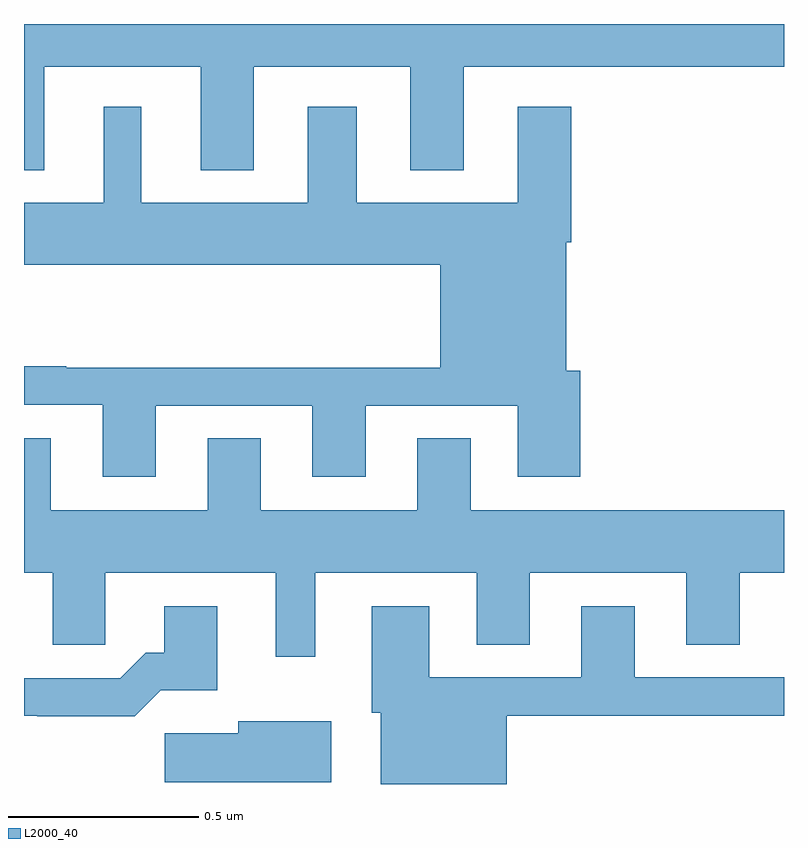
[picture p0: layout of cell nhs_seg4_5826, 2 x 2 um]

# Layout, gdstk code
import gdstk
lib = gdstk.Library(unit=1e-6, precision=1e-09)
def P(c, l, *ps):  # polygons
    for p in ps: c.add(gdstk.Polygon(p, *l))
L2000_40 = (2000, 40)

nhs_seg4_5826 = lib.new_cell('nhs_seg4_5826')
P(nhs_seg4_5826, L2000_40, [(182.053,828.788),(182.465,828.788),(182.465,828.515),(182.605,828.515),(182.605,828.788),(183.017,828.788),(183.017,828.515),(183.157,828.515),(183.157,828.788),(184,828.788),(184,828.9),(182,828.9),(182,828.515),(182.053,828.515)],
  [(182.347,827.895),(182.759,827.895),(182.759,827.709),(182.899,827.709),(182.899,827.895),(183.299,827.895),(183.299,827.709),(183.464,827.709),(183.464,827.988),(183.427,827.988),(183.427,828.326),(183.44,828.326),(183.44,828.682),(183.299,828.682),(183.299,828.43),(182.875,828.43),(182.875,828.682),(182.747,828.682),(182.747,828.43),(182.308,828.43),(182.308,828.682),(182.21,828.682),(182.21,828.43),(182,828.43),(182,828.266),(183.095,828.266),(183.095,827.996),(182.111,827.996),(182.111,827.999),(182,827.999),(182,827.898),(182.207,827.898),(182.207,827.709),(182.347,827.709)],
  [(182.767,827.456),(183.191,827.456),(183.191,827.266),(183.331,827.266),(183.331,827.456),(183.743,827.456),(183.743,827.266),(183.883,827.266),(183.883,827.456),(184,827.456),(184,827.62),(183.175,827.62),(183.175,827.81),(183.035,827.81),(183.035,827.62),(182.623,827.62),(182.623,827.81),(182.483,827.81),(182.483,827.62),(182.071,827.62),(182.071,827.81),(182,827.81),(182,827.456),(182.075,827.456),(182.075,827.266),(182.214,827.266),(182.214,827.456),(182.663,827.456),(182.663,827.235),(182.767,827.235)],
  [(182.36,827.147),(182.509,827.147),(182.509,827.368),(182.369,827.368),(182.369,827.245),(182.32,827.245),(182.253,827.178),(182,827.178),(182,827.08),(182.035,827.08),(182.035,827.078),(182.291,827.078)],
  [(183.271,827.08),(184,827.08),(184,827.181),(183.607,827.181),(183.607,827.368),(183.467,827.368),(183.467,827.181),(183.067,827.181),(183.067,827.368),(182.915,827.368),(182.915,827.088),(182.939,827.088),(182.939,826.9),(183.271,826.9)],
  [(182.809,827.065),(182.564,827.065),(182.564,827.033),(182.37,827.033),(182.37,826.904),(182.809,826.904)])

lib.write_gds('nhs_seg4_5826.gds')
